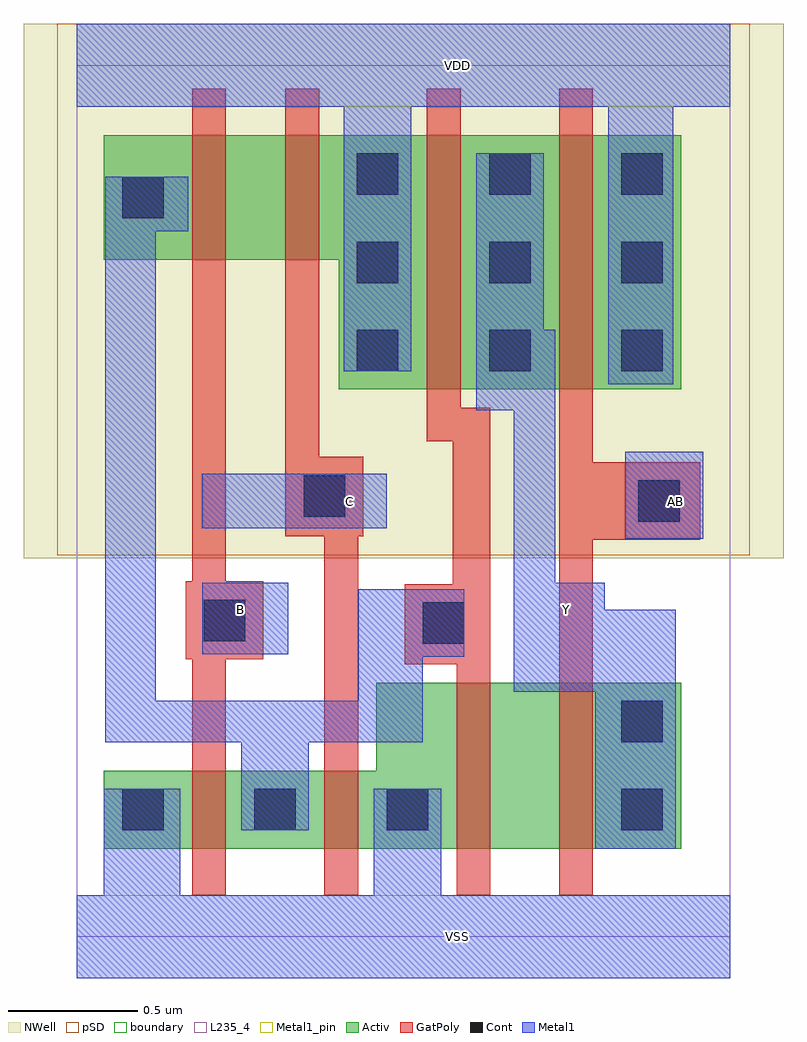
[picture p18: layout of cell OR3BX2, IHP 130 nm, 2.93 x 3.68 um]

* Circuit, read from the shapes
.subckt OR3BX2 AB B C VDD VSS Y
XM1 n1 B VSS VSUBS sg13_lv_nmos w=0.3u l=0.13u
XM2 VSS C n1 VSUBS sg13_lv_nmos w=0.3u l=0.13u
XM3 n2 n1 VSS VSUBS sg13_lv_nmos w=0.64u l=0.13u
XM4 Y AB n2 VSUBS sg13_lv_nmos w=0.64u l=0.13u
XM5 n3 B n1 n4 sg13_lv_pmos w=0.48u l=0.13u
XM6 VDD C n3 n4 sg13_lv_pmos w=0.48u l=0.13u
XM7 Y n1 VDD n4 sg13_lv_pmos w=0.98u l=0.13u
XM8 VDD AB Y n4 sg13_lv_pmos w=0.98u l=0.13u
.ends

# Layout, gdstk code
import gdstk
lib = gdstk.Library(unit=1e-6, precision=1e-09)
def R(c, l, rs):  # rectangles x0, y0, x1, y1
    for r in rs: c.add(gdstk.rectangle(r[:2], r[2:], *l))
def A(c, l, x, y, w, h, nx, ny, dx, dy):  # array of equal rectangles
    R(c, l, [(x+i*dx, y+j*dy, x+i*dx+w, y+j*dy+h) for i in range(nx) for j in range(ny)])
def P(c, l, *ps):  # polygons
    for p in ps: c.add(gdstk.Polygon(p, *l))
Activ = (1, 0)
GatPoly = (5, 0)
Cont = (6, 0)
Metal1 = (8, 0)
Metal1_pin = (8, 2)
pSD = (14, 0)
NWell = (31, 0)
boundary = (189, 4)
L235_4 = (235, 4)

or3bx2 = lib.new_cell('OR3BX2')
P(or3bx2, Activ, [(0.105,0.34),(0.105,0.64),(1.155,0.64),(1.155,0.98),(2.33,0.98),(2.33,0.34)],
  [(1.01,2.11),(1.01,2.61),(0.105,2.61),(0.105,3.09),(2.33,3.09),(2.33,2.11)])
P(or3bx2, GatPoly, [(1.86,0.16),(1.86,3.27),(1.99,3.27),(1.99,1.83),(2.405,1.83),(2.405,1.53),(1.99,1.53),(1.99,0.16)],
  [(1.465,0.16),(1.465,1.05),(1.265,1.05),(1.265,1.36),(1.45,1.36),(1.45,1.91),(1.35,1.91),(1.35,3.27),(1.48,3.27),(1.48,2.04),(1.595,2.04),(1.595,0.16)],
  [(0.955,0.16),(0.955,1.545),(0.805,1.545),(0.805,3.27),(0.935,3.27),(0.935,1.85),(1.105,1.85),(1.105,1.545),(1.085,1.545),(1.085,0.16)],
  [(0.445,0.16),(0.445,1.07),(0.42,1.07),(0.42,1.37),(0.445,1.37),(0.445,3.27),(0.575,3.27),(0.575,1.37),(0.72,1.37),(0.72,1.07),(0.575,1.07),(0.575,0.16)])
A(or3bx2, Cont, 0.175, 0.41, 0.16, 0.16, 3, 1, 0.51, 0)
A(or3bx2, Cont, 1.08, 2.18, 0.16, 0.16, 3, 3, 0.51, 0.34)
R(or3bx2, Cont, [(2.1,0.41,2.26,0.57), (2.1,0.75,2.26,0.91), (1.335,1.13,1.495,1.29), (0.49,1.14,0.65,1.3), (2.165,1.6,2.325,1.76), (0.875,1.62,1.035,1.78), (0.175,2.77,0.335,2.93)])
R(or3bx2, Metal1, [(0.485,1.09,0.815,1.365), (2.115,1.535,2.415,1.87), (0.485,1.575,1.195,1.785)])
P(or3bx2, Metal1, [(0,-0.16),(0,0.16),(0.105,0.16),(0.105,0.57),(0.4,0.57),(0.4,0.16),(1.145,0.16),(1.145,0.57),(1.405,0.57),(1.405,0.16),(2.52,0.16),(2.52,-0.16)],
  [(2.05,2.13),(2.05,3.2),(1.29,3.2),(1.29,2.18),(1.03,2.18),(1.03,3.2),(0,3.2),(0,3.52),(2.52,3.52),(2.52,3.2),(2.3,3.2),(2.3,2.13)],
  [(2,0.34),(2,0.945),(1.685,0.945),(1.685,2.03),(1.54,2.03),(1.54,3.02),(1.8,3.02),(1.8,2.34),(1.845,2.34),(1.845,1.365),(2.035,1.365),(2.035,1.26),(2.31,1.26),(2.31,0.34)],
  [(0.635,0.41),(0.635,0.75),(0.11,0.75),(0.11,2.93),(0.43,2.93),(0.43,2.72),(0.305,2.72),(0.305,0.91),(1.085,0.91),(1.085,1.34),(1.495,1.34),(1.495,1.08),(1.335,1.08),(1.335,0.75),(0.895,0.75),(0.895,0.41)])
R(or3bx2, Metal1_pin, [(0,-0.16,2.52,0.16), (0.485,1.09,0.815,1.365), (2.115,1.535,2.415,1.87), (0.485,1.575,1.195,1.785), (0,3.2,2.52,3.52)])
P(or3bx2, Metal1_pin, [(2,0.34),(2,0.945),(1.685,0.945),(1.685,2.03),(1.54,2.03),(1.54,3.02),(1.8,3.02),(1.8,2.34),(1.845,2.34),(1.845,1.365),(2.035,1.365),(2.035,1.26),(2.31,1.26),(2.31,0.34)])
R(or3bx2, pSD, [(-0.075,1.47,2.595,3.52)])
R(or3bx2, NWell, [(-0.205,1.46,2.725,3.52)])
R(or3bx2, boundary, [(0,0,2.52,3.36)])
R(or3bx2, L235_4, [(0,0,2.52,3.36)])
or3bx2.add(gdstk.Label('VSS', (1.47,0), layer=8, texttype=25))
or3bx2.add(gdstk.Label('AB', (2.31,1.68), layer=8, texttype=25))
or3bx2.add(gdstk.Label('C', (1.05,1.68), layer=8, texttype=25))
or3bx2.add(gdstk.Label('VDD', (1.47,3.36), layer=8, texttype=25))
or3bx2.add(gdstk.Label('Y', (1.89,1.26), layer=8, texttype=25))
or3bx2.add(gdstk.Label('B', (0.63,1.26), layer=8, texttype=25))

lib.write_gds('OR3BX2.gds')
